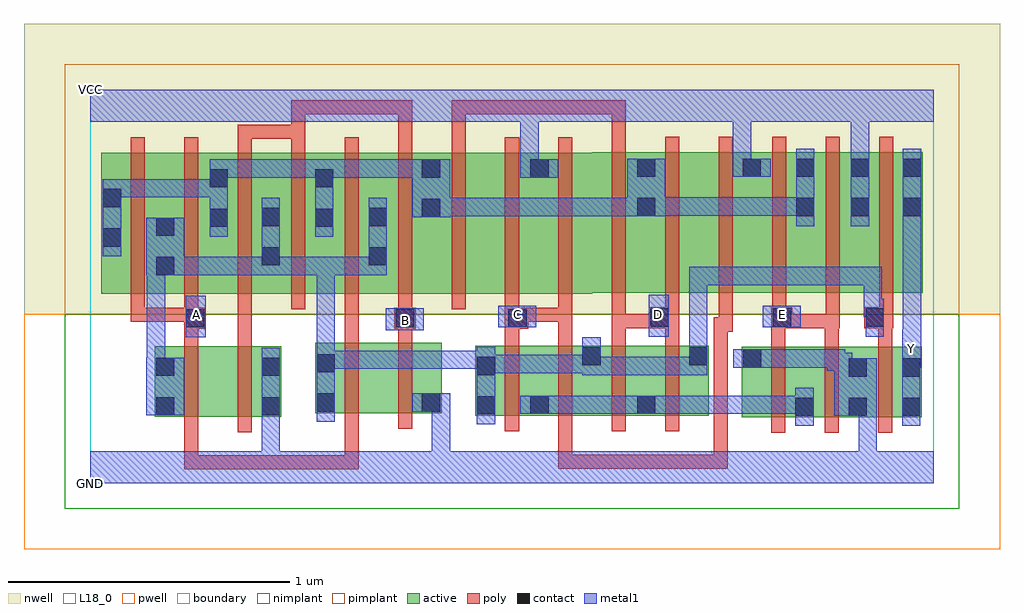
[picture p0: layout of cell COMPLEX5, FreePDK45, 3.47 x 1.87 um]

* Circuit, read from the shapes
.subckt COMPLEX5 A B C D E GND VCC Y
M1 n1 A n2 VSUBS nfet w=0.25u l=0.05u
M2 GND B n1 VSUBS nfet w=0.25u l=0.05u
M3 n3 A n2 VSUBS nfet w=0.25u l=0.05u
M4 GND B n3 VSUBS nfet w=0.25u l=0.05u
M5 n4 C n2 VSUBS nfet w=0.25u l=0.05u m=2
M6 n4 D n2 VSUBS nfet w=0.25u l=0.05u m=2
M7 n4 E GND VSUBS nfet w=0.25u l=0.05u m=2
M8 Y n2 GND VSUBS nfet w=0.25u l=0.05u
M9 n2 A n5 n6 pfet w=0.5u l=0.05u m=3
M10 n2 B n5 n6 pfet w=0.5u l=0.05u m=3
M11 n7 D n5 n6 pfet w=0.5u l=0.05u
M12 VCC C n7 n6 pfet w=0.5u l=0.05u
M13 n8 C VCC n6 pfet w=0.5u l=0.05u
M14 n5 D n8 n6 pfet w=0.5u l=0.05u
M15 n9 D n5 n6 pfet w=0.5u l=0.05u
M16 VCC C n9 n6 pfet w=0.5u l=0.05u
M17 n5 E VCC n6 pfet w=0.5u l=0.05u m=2
M18 Y n2 VCC n6 pfet w=0.5u l=0.05u
.ends

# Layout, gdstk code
import gdstk
lib = gdstk.Library(unit=1e-6, precision=1e-09)
def R(c, l, rs):  # rectangles x0, y0, x1, y1
    for r in rs: c.add(gdstk.rectangle(r[:2], r[2:], *l))
def A(c, l, x, y, w, h, nx, ny, dx, dy):  # array of equal rectangles
    R(c, l, [(x+i*dx, y+j*dy, x+i*dx+w, y+j*dy+h) for i in range(nx) for j in range(ny)])
active = (1, 0)
pwell = (2, 0)
nwell = (3, 0)
nimplant = (4, 0)
pimplant = (5, 0)
poly = (9, 0)
contact = (10, 0)
metal1 = (11, 0)
L18_0 = (18, 0)
boundary = (235, 0)

complex5 = lib.new_cell('COMPLEX5')
A(complex5, active, 0.605, 0.675, 0.265, 0.5, 3, 1, 0.19, 0)
R(complex5, active, [(2.317,0.235,2.577,0.485), (2.502,0.235,2.767,0.485), (2.502,0.235,2.577,0.342), (2.692,0.235,2.957,0.485), (2.692,0.235,2.767,0.45), (2.882,0.235,2.957,0.485), (0.23,0.237,0.305,0.487), (0.23,0.237,0.455,0.487), (0.455,0.237,0.68,0.487), (0.605,0.237,0.68,0.487), (1.37,0.24,1.445,0.49), (1.37,0.24,1.635,0.49), (1.56,0.24,1.82,0.49), (1.745,0.24,2.015,0.49), (1.94,0.24,2.2,0.49), (1.94,0.24,2.015,0.467), (1.56,0.242,1.635,0.372), (0.8,0.25,0.875,0.5), (0.8,0.25,1.025,0.5), (1.025,0.25,1.25,0.5), (1.175,0.25,1.25,0.5), (1.745,0.297,1.82,0.49), (2.125,0.297,2.2,0.49), (2.317,0.297,2.392,0.485), (0.04,0.675,0.115,1.175), (0.04,0.675,0.305,1.175), (0.23,0.675,0.495,1.175), (0.23,0.675,0.305,1.07), (0.42,0.675,0.68,1.175), (0.605,0.675,0.68,1.07), (0.795,0.675,0.87,1.175), (0.985,0.675,1.06,1.07), (1.175,0.675,1.25,1.175), (1.175,0.675,1.405,1.175), (1.405,0.675,1.635,1.175), (1.56,0.675,1.785,1.175), (1.785,0.677,2.015,1.177), (1.94,0.677,2.015,1.16), (1.94,0.677,2.165,1.177), (2.165,0.677,2.39,1.177), (2.315,0.677,2.58,1.177), (2.505,0.677,2.775,1.177), (2.7,0.677,2.96,1.177), (2.7,0.677,2.775,1.177), (2.885,0.677,2.96,1.16), (1.56,0.682,1.635,1.175), (0.42,0.697,0.495,1.175), (2.505,0.722,2.58,1.177), (2.315,0.807,2.39,1.177)])
R(complex5, pwell, [(-0.235,-0.235,3.235,0.602)])
R(complex5, nwell, [(-0.235,0.602,3.235,1.635)])
R(complex5, nimplant, [(-0.09,-0.09,3.09,0.602)])
R(complex5, pimplant, [(-0.09,0.602,3.09,1.49)])
A(complex5, poly, 2.422, 0.18, 0.05, 0.36, 3, 1, 0.19, 0)
A(complex5, poly, 1.475, 0.185, 0.05, 0.36, 4, 1, 0.19, 0)
A(complex5, poly, 2.422, 0.49, 0.05, 0.112, 3, 1, 0.19, 0)
A(complex5, poly, 2.045, 0.577, 0.05, 0.095, 3, 1, 0.38, 0)
A(complex5, poly, 0.145, 0.62, 0.05, 0.61, 9, 1, 0.19, 0)
A(complex5, poly, 1.855, 0.622, 0.05, 0.61, 6, 1, 0.19, 0)
R(complex5, poly, [(0.335,0.05,0.385,0.1), (0.335,0.05,0.517,0.1), (0.335,0.05,0.385,0.232), (0.467,0.05,0.517,0.1), (0.467,0.05,0.517,0.1), (0.467,0.05,0.517,0.1), (0.467,0.05,0.78,0.1), (0.73,0.05,0.78,0.1), (0.73,0.05,0.78,0.1), (0.73,0.05,0.78,0.1), (0.73,0.05,0.955,0.1), (0.905,0.05,0.955,0.1), (0.905,0.05,0.955,0.1), (0.905,0.05,0.955,0.1), (0.905,0.05,0.955,0.245), (1.665,0.052,1.715,0.102), (1.665,0.052,1.715,0.102), (1.665,0.052,1.715,0.102), (1.665,0.052,1.905,0.102), (1.665,0.052,1.715,0.235), (1.855,0.052,1.905,0.102), (1.855,0.052,2.135,0.102), (2.085,0.052,2.135,0.102), (2.085,0.052,2.135,0.102), (2.085,0.052,2.135,0.102), (2.085,0.052,2.267,0.102), (2.217,0.052,2.267,0.102), (2.217,0.052,2.267,0.102), (2.217,0.052,2.267,0.102), (2.217,0.052,2.267,0.59), (0.335,0.182,0.385,0.542), (0.525,0.182,0.575,0.542), (0.905,0.195,0.955,0.555), (1.095,0.195,1.145,0.555), (0.335,0.492,0.385,0.6), (0.525,0.492,0.575,0.587), (1.475,0.495,1.525,0.6), (1.665,0.495,1.715,0.625), (1.855,0.495,1.905,0.602), (2.045,0.495,2.095,0.602), (0.905,0.505,0.955,0.625), (1.095,0.505,1.145,0.6), (0.525,0.537,0.575,0.587), (0.525,0.537,0.575,0.67), (2.217,0.54,2.267,0.59), (2.217,0.54,2.267,0.59), (2.217,0.54,2.267,0.59), (2.217,0.54,2.267,0.59), (2.217,0.54,2.285,0.59), (2.235,0.54,2.285,0.672), (0.335,0.55,0.41,0.625), (1.082,0.55,1.157,0.625), (1.475,0.55,1.557,0.625), (1.855,0.552,1.905,0.672), (1.855,0.552,1.905,0.602), (1.855,0.552,2.037,0.602), (1.987,0.552,2.037,0.602), (1.987,0.552,2.037,0.602), (1.987,0.552,2.095,0.627), (2.422,0.552,2.497,0.627), (2.447,0.552,2.662,0.602), (2.447,0.552,2.497,0.602), (2.447,0.552,2.497,0.602), (2.612,0.552,2.665,0.602), (2.615,0.552,2.665,0.672), (2.752,0.552,2.855,0.627), (0.145,0.575,0.195,0.67), (0.145,0.575,0.195,0.625), (0.145,0.575,0.195,0.625), (0.145,0.575,0.195,0.625), (0.145,0.575,0.385,0.625), (0.335,0.575,0.385,0.67), (0.905,0.575,0.955,0.67), (0.905,0.575,0.955,0.625), (1.095,0.575,1.145,0.67), (1.475,0.575,1.525,0.67), (1.507,0.575,1.557,0.625), (1.507,0.575,1.557,0.625), (1.507,0.575,1.715,0.625), (1.665,0.575,1.715,0.67), (1.665,0.575,1.715,0.625), (0.525,1.18,0.575,1.275), (0.715,1.18,0.765,1.275), (1.095,1.18,1.145,1.362), (1.285,1.18,1.335,1.362), (1.855,1.182,1.905,1.362), (0.525,1.225,0.575,1.275), (0.525,1.225,0.765,1.275), (0.715,1.225,0.765,1.275), (0.715,1.225,0.765,1.275), (0.715,1.225,0.765,1.362), (0.715,1.312,1,1.362), (0.95,1.312,1,1.362), (0.95,1.312,1,1.362), (0.95,1.312,1,1.362), (0.95,1.312,1.145,1.362), (1.095,1.312,1.145,1.362), (1.095,1.312,1.145,1.362), (1.095,1.312,1.145,1.362), (1.285,1.312,1.335,1.362), (1.285,1.312,1.335,1.362), (1.285,1.312,1.335,1.362), (1.285,1.312,1.557,1.362), (1.507,1.312,1.557,1.362), (1.507,1.312,1.557,1.362), (1.507,1.312,1.557,1.362), (1.507,1.312,1.69,1.362), (1.64,1.312,1.69,1.362), (1.64,1.312,1.905,1.362), (1.855,1.312,1.905,1.362), (1.855,1.312,1.905,1.362), (1.855,1.312,1.905,1.362)])
A(complex5, contact, 2.507, 0.24, 0.065, 0.065, 3, 1, 0.19, 0)
R(complex5, contact, [(0.235,0.242,0.3,0.307), (0.61,0.242,0.675,0.307), (1.375,0.245,1.44,0.31), (1.565,0.247,1.63,0.312), (1.945,0.247,2.01,0.312), (0.805,0.255,0.87,0.32), (1.18,0.255,1.245,0.32), (2.697,0.38,2.762,0.445), (2.887,0.38,2.952,0.445), (0.235,0.382,0.3,0.447), (0.61,0.382,0.675,0.447), (1.375,0.385,1.44,0.45), (0.805,0.395,0.87,0.46), (2.322,0.412,2.387,0.477), (1.75,0.42,1.815,0.485), (2.13,0.42,2.195,0.485), (0.34,0.555,0.405,0.62), (1.087,0.555,1.152,0.62), (1.487,0.555,1.552,0.62), (1.992,0.557,2.057,0.622), (2.427,0.557,2.492,0.622), (2.757,0.557,2.822,0.622), (0.235,0.74,0.3,0.805), (0.61,0.775,0.675,0.84), (0.99,0.775,1.055,0.84), (0.045,0.842,0.11,0.907), (0.235,0.88,0.3,0.945), (0.425,0.912,0.49,0.977), (0.8,0.912,0.865,0.977), (0.61,0.915,0.675,0.98), (0.99,0.915,1.055,0.98), (1.18,0.947,1.245,1.012), (1.945,0.95,2.01,1.015), (2.51,0.95,2.575,1.015), (2.705,0.95,2.77,1.015), (2.89,0.95,2.955,1.015), (0.045,0.982,0.11,1.047), (0.425,1.052,0.49,1.117), (0.8,1.052,0.865,1.117), (1.18,1.087,1.245,1.152), (1.565,1.087,1.63,1.152), (1.945,1.09,2.01,1.155), (2.32,1.09,2.385,1.155), (2.51,1.09,2.575,1.155), (2.705,1.09,2.77,1.155), (2.89,1.09,2.955,1.155)])
R(complex5, metal1, [(0,0,3,0.115), (0.61,0.05,0.675,0.115), (0.61,0.05,0.675,0.115), (0.61,0.05,0.675,0.115), (0.61,0.05,0.675,0.115), (0.61,0.05,0.675,0.272), (1.215,0.05,1.28,0.115), (1.215,0.05,1.28,0.115), (1.215,0.05,1.28,0.115), (1.215,0.05,1.28,0.115), (1.215,0.05,1.28,0.32), (2.732,0.05,2.797,0.305), (2.507,0.205,2.572,0.34), (2.887,0.205,2.952,0.48), (0.61,0.207,0.675,0.482), (1.375,0.21,1.44,0.485), (0.805,0.22,0.87,0.495), (2.645,0.24,2.797,0.445), (2.732,0.24,2.797,0.305), (2.732,0.24,2.797,0.305), (2.732,0.24,2.797,0.305), (2.732,0.24,2.797,0.305), (0.2,0.242,0.335,0.447), (1.53,0.247,1.665,0.312), (1.6,0.247,1.665,0.312), (1.6,0.247,1.665,0.312), (1.6,0.247,1.802,0.312), (1.737,0.247,1.802,0.312), (1.737,0.247,1.802,0.312), (1.737,0.247,1.802,0.312), (1.737,0.247,1.975,0.312), (1.91,0.247,2.045,0.312), (1.98,0.247,2.045,0.312), (1.98,0.247,2.045,0.312), (1.98,0.247,2.212,0.312), (2.147,0.247,2.212,0.312), (2.147,0.247,2.212,0.312), (2.147,0.247,2.212,0.312), (2.147,0.247,2.35,0.312), (2.285,0.247,2.35,0.312), (2.285,0.247,2.35,0.312), (2.285,0.247,2.35,0.312), (2.285,0.247,2.572,0.312), (1.145,0.255,1.28,0.32), (2.645,0.38,2.71,0.465), (0.202,0.382,0.267,0.805), (1.75,0.385,1.815,0.45), (1.75,0.385,1.815,0.45), (1.75,0.385,1.815,0.52), (1.75,0.385,1.952,0.45), (1.887,0.385,1.952,0.45), (1.887,0.385,1.952,0.45), (1.887,0.385,1.952,0.45), (1.887,0.385,2.195,0.45), (2.13,0.385,2.195,0.52), (1.375,0.392,1.44,0.457), (1.375,0.392,1.44,0.457), (1.375,0.392,1.577,0.457), (1.512,0.392,1.577,0.457), (1.512,0.392,1.577,0.457), (1.512,0.392,1.577,0.457), (1.512,0.392,1.815,0.457), (2.62,0.4,2.71,0.465), (2.62,0.4,2.685,0.477), (2.645,0.4,2.71,0.465), (0.805,0.407,0.87,0.472), (0.805,0.407,0.87,0.472), (0.805,0.407,1.007,0.472), (0.942,0.407,1.007,0.472), (0.942,0.407,1.007,0.472), (0.942,0.407,1.007,0.472), (0.942,0.407,1.145,0.472), (1.08,0.407,1.145,0.472), (1.08,0.407,1.145,0.472), (1.08,0.407,1.145,0.472), (1.08,0.407,1.44,0.472), (2.287,0.412,2.422,0.477), (2.357,0.412,2.422,0.477), (2.357,0.412,2.422,0.477), (2.357,0.412,2.572,0.477), (2.507,0.412,2.572,0.477), (2.507,0.412,2.685,0.477), (2.887,0.412,2.955,0.547), (2.887,0.415,2.952,0.48), (0.805,0.43,0.87,0.495), (0.805,0.43,0.87,0.495), (0.805,0.43,0.87,0.805), (2.13,0.455,2.195,0.77), (2.89,0.482,2.955,0.98), (0.34,0.52,0.412,0.667), (1.987,0.522,2.057,0.67), (2.757,0.522,2.822,0.657), (1.052,0.545,1.187,0.622), (1.452,0.555,1.587,0.632), (2.392,0.555,2.527,0.632), (2.75,0.592,2.815,0.657), (2.75,0.592,2.822,0.657), (2.75,0.592,2.815,0.77), (2.13,0.705,2.195,0.77), (2.13,0.705,2.195,0.77), (2.13,0.705,2.195,0.77), (2.13,0.705,2.195,0.77), (2.13,0.705,2.195,0.77), (2.13,0.705,2.435,0.77), (2.37,0.705,2.435,0.77), (2.37,0.705,2.435,0.77), (2.37,0.705,2.435,0.77), (2.37,0.705,2.572,0.77), (2.507,0.705,2.572,0.77), (2.507,0.705,2.572,0.77), (2.507,0.705,2.572,0.77), (2.507,0.705,2.815,0.77), (2.75,0.705,2.815,0.77), (0.2,0.74,0.335,0.945), (0.202,0.74,0.267,0.805), (0.202,0.74,0.267,0.805), (0.27,0.74,0.335,0.805), (0.27,0.74,0.335,0.805), (0.27,0.74,0.49,0.805), (0.425,0.74,0.49,0.805), (0.425,0.74,0.49,0.805), (0.425,0.74,0.49,0.805), (0.425,0.74,0.675,0.805), (0.61,0.74,0.675,1.015), (0.61,0.74,0.675,0.805), (0.61,0.74,0.675,0.805), (0.61,0.74,0.87,0.805), (0.805,0.74,0.87,0.805), (0.805,0.74,0.87,0.805), (0.805,0.74,0.87,0.805), (0.805,0.74,1.055,0.805), (0.99,0.74,1.055,1.015), (0.045,0.807,0.11,1.082), (0.425,0.877,0.49,1.152), (0.8,0.877,0.865,1.152), (2.51,0.915,2.575,1.19), (2.705,0.915,2.77,1.19), (2.89,0.915,2.955,1.19), (1.145,0.947,1.28,1.152), (1.215,0.95,1.28,1.015), (1.215,0.95,1.28,1.015), (1.215,0.95,1.44,1.015), (1.375,0.95,1.44,1.015), (1.375,0.95,1.44,1.015), (1.375,0.95,1.44,1.015), (1.375,0.95,1.665,1.015), (1.6,0.95,1.665,1.015), (1.6,0.95,1.665,1.015), (1.6,0.95,1.665,1.015), (1.6,0.95,1.802,1.015), (1.737,0.95,1.802,1.015), (1.737,0.95,1.802,1.015), (1.737,0.95,1.802,1.015), (1.737,0.95,1.975,1.015), (1.91,0.95,2.045,1.155), (1.98,0.952,2.045,1.017), (1.98,0.952,2.045,1.017), (1.98,0.952,2.212,1.017), (2.147,0.952,2.212,1.017), (2.147,0.952,2.212,1.017), (2.147,0.952,2.212,1.017), (2.147,0.952,2.35,1.017), (2.285,0.952,2.35,1.017), (2.285,0.952,2.35,1.017), (2.285,0.952,2.35,1.017), (2.285,0.952,2.575,1.017), (0.045,1.017,0.11,1.082), (0.045,1.017,0.11,1.082), (0.045,1.017,0.352,1.082), (0.287,1.017,0.352,1.082), (0.287,1.017,0.352,1.082), (0.287,1.017,0.352,1.082), (0.287,1.017,0.49,1.082), (0.425,1.087,0.49,1.152), (0.425,1.087,0.49,1.152), (0.425,1.087,0.627,1.152), (0.562,1.087,0.627,1.152), (0.562,1.087,0.627,1.152), (0.562,1.087,0.627,1.152), (0.562,1.087,0.865,1.152), (0.8,1.087,0.865,1.152), (0.8,1.087,0.865,1.152), (0.8,1.087,1.007,1.152), (0.942,1.087,1.007,1.152), (0.942,1.087,1.007,1.152), (0.942,1.087,1.007,1.152), (0.942,1.087,1.21,1.152), (1.53,1.087,1.665,1.152), (1.53,1.087,1.595,1.35), (2.285,1.09,2.35,1.35), (2.285,1.09,2.42,1.155), (2.705,1.125,2.77,1.35), (0,1.285,3,1.4), (1.53,1.285,1.595,1.35), (1.53,1.285,1.595,1.35), (2.285,1.285,2.35,1.35), (2.285,1.285,2.35,1.35), (2.705,1.285,2.77,1.35), (2.705,1.285,2.77,1.35)])
R(complex5, L18_0, [(0,0,3,0.115), (0.61,0.05,0.675,0.115), (0.61,0.05,0.675,0.115), (0.61,0.05,0.675,0.115), (0.61,0.05,0.675,0.115), (0.61,0.05,0.675,0.272), (1.215,0.05,1.28,0.115), (1.215,0.05,1.28,0.115), (1.215,0.05,1.28,0.115), (1.215,0.05,1.28,0.115), (1.215,0.05,1.28,0.32), (2.732,0.05,2.797,0.305), (2.887,0.205,2.952,0.48), (0.61,0.207,0.675,0.482), (2.645,0.24,2.797,0.445), (2.732,0.24,2.797,0.305), (2.732,0.24,2.797,0.305), (2.732,0.24,2.797,0.305), (2.732,0.24,2.797,0.305), (1.145,0.255,1.28,0.32), (2.645,0.38,2.71,0.465), (2.62,0.4,2.685,0.477), (2.62,0.4,2.71,0.465), (2.645,0.4,2.71,0.465), (2.287,0.412,2.422,0.477), (2.357,0.412,2.422,0.477), (2.357,0.412,2.422,0.477), (2.357,0.412,2.572,0.477), (2.507,0.412,2.572,0.477), (2.507,0.412,2.685,0.477), (2.887,0.412,2.955,0.547), (2.887,0.415,2.952,0.48), (2.887,0.447,2.952,0.512), (2.89,0.482,2.955,0.98), (0.34,0.52,0.412,0.667), (1.987,0.522,2.057,0.67), (1.052,0.545,1.187,0.622), (1.087,0.547,1.152,0.612), (1.452,0.555,1.587,0.632), (2.392,0.555,2.527,0.632), (0.347,0.567,0.412,0.632), (1.487,0.567,1.552,0.632), (1.987,0.567,2.052,0.632), (2.427,0.567,2.492,0.632), (2.705,0.915,2.77,1.19), (2.89,0.915,2.955,1.19), (1.53,1.087,1.665,1.152), (1.53,1.087,1.595,1.35), (2.285,1.09,2.42,1.155), (2.285,1.09,2.35,1.35), (2.705,1.125,2.77,1.35), (0,1.285,3,1.4), (1.53,1.285,1.595,1.35), (1.53,1.285,1.595,1.35), (2.285,1.285,2.35,1.35), (2.285,1.285,2.35,1.35), (2.705,1.285,2.77,1.35), (2.705,1.285,2.77,1.35)])
R(complex5, boundary, [(0,0,3,1.4)])
complex5.add(gdstk.Label('A', (0.38,0.6), layer=11, texttype=0))
complex5.add(gdstk.Label('B', (1.12,0.58), layer=11, texttype=0))
complex5.add(gdstk.Label('C', (1.52,0.6), layer=11, texttype=0))
complex5.add(gdstk.Label('D', (2.02,0.6), layer=11, texttype=0))
complex5.add(gdstk.Label('E', (2.46,0.6), layer=11, texttype=0))
complex5.add(gdstk.Label('Y', (2.92,0.48), layer=11, texttype=0))
complex5.add(gdstk.Label('VCC', (0,1.4), layer=11, texttype=0))
complex5.add(gdstk.Label('GND', (0,0), layer=11, texttype=0))

lib.write_gds('COMPLEX5.gds')
